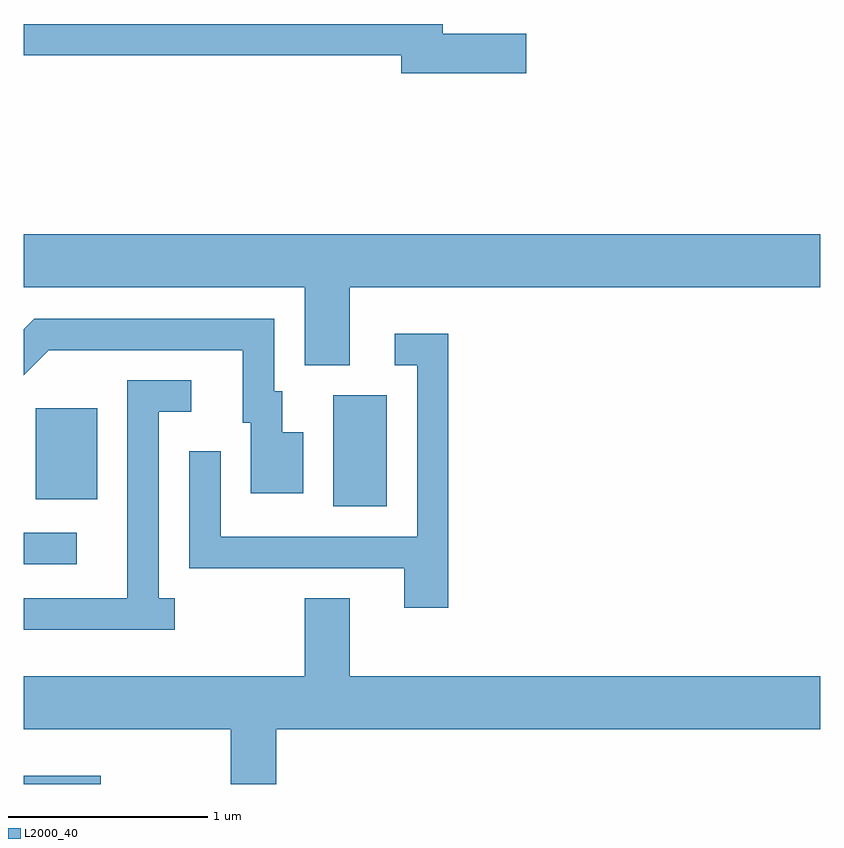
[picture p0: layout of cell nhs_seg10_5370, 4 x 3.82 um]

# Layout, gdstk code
import gdstk
lib = gdstk.Library(unit=1e-6, precision=1e-09)
def R(c, l, rs):  # rectangles x0, y0, x1, y1
    for r in rs: c.add(gdstk.rectangle(r[:2], r[2:], *l))
def P(c, l, *ps):  # polygons
    for p in ps: c.add(gdstk.Polygon(p, *l))
L2000_40 = (2000, 40)

nhs_seg10_5370 = lib.new_cell('nhs_seg10_5370')
R(nhs_seg10_5370, L2000_40, [(343.611,2122.522,343.998,2122.564), (343.611,2123.626,343.878,2123.784), (345.166,2123.916,345.434,2124.474), (343.671,2123.951,343.979,2124.409)])
P(nhs_seg10_5370, L2000_40, [(346.134,2126.289),(345.714,2126.289),(345.714,2126.339),(343.611,2126.339),(343.611,2126.181),(345.506,2126.181),(345.506,2126.091),(346.134,2126.091)],
  [(345.249,2125.016),(347.611,2125.016),(347.611,2125.284),(343.611,2125.284),(343.611,2125.016),(345.021,2125.016),(345.021,2124.626),(345.249,2124.626)],
  [(345.014,2124.289),(344.909,2124.289),(344.909,2124.494),(344.869,2124.494),(344.869,2124.859),(343.664,2124.859),(343.611,2124.806),(343.611,2124.576),(343.737,2124.701),(344.711,2124.701),(344.711,2124.336),(344.751,2124.336),(344.751,2123.981),(345.014,2123.981)],
  [(345.744,2124.784),(345.473,2124.784),(345.473,2124.626),(345.586,2124.626),(345.586,2123.764),(344.599,2123.764),(344.599,2124.193),(344.441,2124.193),(344.441,2123.606),(345.521,2123.606),(345.521,2123.406),(345.744,2123.406)],
  [(344.368,2123.454),(344.289,2123.454),(344.289,2124.391),(344.453,2124.391),(344.453,2124.549),(344.131,2124.549),(344.131,2123.454),(343.611,2123.454),(343.611,2123.296),(344.368,2123.296)],
  [(344.879,2122.796),(347.611,2122.796),(347.611,2123.064),(345.249,2123.064),(345.249,2123.454),(345.021,2123.454),(345.021,2123.064),(343.611,2123.064),(343.611,2122.796),(344.651,2122.796),(344.651,2122.522),(344.879,2122.522)])

lib.write_gds('nhs_seg10_5370.gds')
